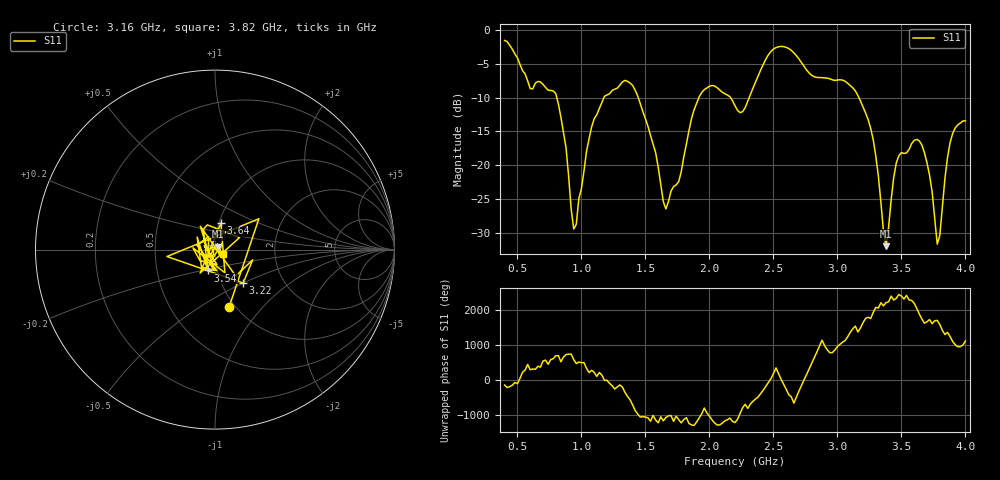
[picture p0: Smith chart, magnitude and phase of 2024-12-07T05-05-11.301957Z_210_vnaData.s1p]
!Created with skrf (http://scikit-rf.org).
# Hz S RI R 50.0
!freq ReS11 ImS11
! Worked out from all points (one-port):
!   181 points, 400 MHz to 4 GHz, reference 50 ohm
!   lowest |S11| = -32.0 dB at 3.38 GHz (marker M1), VSWR 1.05, Z = 51.8 + j1.76 ohm
!   |S11| at or under -10 dB: 807.5 MHz to 1.176 GHz (368.2 MHz wide, 37.1 % of centre); 1.444 GHz to 1.918 GHz (473.5 MHz wide, 28.2 % of centre); 3.168 GHz to end of sweep (the widest 3 of 4)
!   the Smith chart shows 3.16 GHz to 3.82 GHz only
!   S11 on the Smith chart (normalised r, x): 3.16 GHz: 0.94, -0.67; 3.22 GHz: 1.26, -0.50; 3.54 GHz: 0.90, -0.21; 3.64 GHz: 1.02, +0.31; 3.82 GHz: 1.09, -0.05
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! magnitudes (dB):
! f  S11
! 400 MHz  -1.5
! 600 MHz  -8.7
! 800 MHz  -9.4
! 860 MHz  -15.2
! 940 MHz  -29.5
! 1.1 GHz  -13.1
! 1.3 GHz  -8.2
! 1.44 GHz  -9.8
! 1.66 GHz  -26.5
! 1.76 GHz  -22.5
! 1.94 GHz  -9.2
! 2.2 GHz  -11.2
! 2.5 GHz  -2.8
! 2.66 GHz  -3.4
! 3.1 GHz  -8.2
! 3.16 GHz  -9.7
! 3.22 GHz  -12.3
! 3.3 GHz  -18.7
! 3.38 GHz  -32.0
! 3.46 GHz  -19.7
! 3.54 GHz  -18.2
! 3.56 GHz  -17.7
! 3.64 GHz  -16.4
! 3.72 GHz  -21.5
! 3.78 GHz  -31.7
! 3.82 GHz  -26.2
! 3.88 GHz  -16.7
! 4 GHz  -13.4
